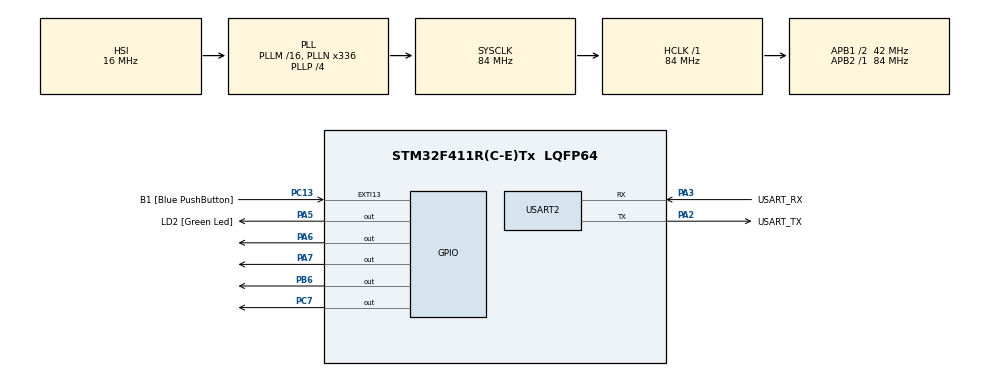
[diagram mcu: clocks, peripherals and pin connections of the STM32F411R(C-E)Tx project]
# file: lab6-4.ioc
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FREERTOS.Tasks01=defaultTask,32,512,StartDefaultTask,Default,NULL,Dynamic,NULL,NULL;myTask02,32,512,StartTask02,Default,NULL,Dynamic,NULL,NULL;myTask03,32,512,StartTask03,Default,NULL,Dynamic,NULL,NULL;myTask04,32,512,StartTask04,Default,NULL,Dynamic,NULL,NULL;myTask05,24,2048,StartTask05,Default,NULL,Dynamic,NULL,NULL;myTask06,24,2048,StartTask06,Default,NULL,Dynamic,NULL,NULL;myTask07,24,2048,StartTask07,Default,NULL,Dynamic,NULL,NULL
FREERTOS.configTOTAL_HEAP_SIZE=40000
Mcu.Family=STM32F4
Mcu.Name=STM32F411R(C-E)Tx
Mcu.Package=LQFP64
NVIC.PriorityGroup=NVIC_PRIORITYGROUP_4
PA13.GPIO_Label=TMS
PA13.Mode=Serial_Wire
PA13.Signal=SYS_JTMS-SWDIO
PA14.GPIO_Label=TCK
PA14.Mode=Serial_Wire
PA14.Signal=SYS_JTCK-SWCLK
PA2.GPIO_Label=USART_TX
PA2.Mode=Asynchronous
PA2.Signal=USART2_TX
PA3.GPIO_Label=USART_RX
PA3.Mode=Asynchronous
PA3.Signal=USART2_RX
PA5.GPIO_Label=LD2 [Green Led]
PA5.Signal=GPIO_Output
PA6.Signal=GPIO_Output
PA7.Signal=GPIO_Output
PB3.GPIO_Label=SWO
PB3.Signal=SYS_JTDO-SWO
PB6.Signal=GPIO_Output
PC13-ANTI_TAMP.GPIO_Label=B1 [Blue PushButton]
PC13-ANTI_TAMP.GPIO_ModeDefaultEXTI=GPIO_MODE_IT_FALLING
PC13-ANTI_TAMP.Signal=GPXTI13
PC14-OSC32_IN.Mode=LSE-External-Oscillator
PC14-OSC32_IN.Signal=RCC_OSC32_IN
PC15-OSC32_OUT.Mode=LSE-External-Oscillator
PC15-OSC32_OUT.Signal=RCC_OSC32_OUT
PC7.Signal=GPIO_Output
PH0\ -\ OSC_IN.Mode=HSE-External-Clock-Source
PH0\ -\ OSC_IN.Signal=RCC_OSC_IN
PH1\ -\ OSC_OUT.Mode=HSE-External-Clock-Source
PH1\ -\ OSC_OUT.Signal=RCC_OSC_OUT
ProjectManager.HeapSize=0x200
ProjectManager.StackSize=0x400
ProjectManager.TargetToolchain=STM32CubeIDE
RCC.48MHZClocksFreq_Value=84000000
RCC.AHBFreq_Value=84000000
RCC.APB1CLKDivider=RCC_HCLK_DIV2
RCC.APB1Freq_Value=42000000
RCC.APB1TimFreq_Value=84000000
RCC.APB2Freq_Value=84000000
RCC.APB2TimFreq_Value=84000000
RCC.CortexFreq_Value=84000000
RCC.FLatency-AdvancedSettings=FLASH_LATENCY_2
RCC.HCLKFreq_Value=84000000
RCC.HSE_VALUE=8000000
RCC.HSI_VALUE=16000000
RCC.PLLN=336
RCC.PLLP=RCC_PLLP_DIV4
RCC.SYSCLKFreq_VALUE=84000000
RCC.SYSCLKSource=RCC_SYSCLKSOURCE_PLLCLK
RCC.VCOOutputFreq_Value=336000000
USART2.VirtualMode=VM_ASYNC
VP_FREERTOS_VS_CMSIS_V2.Mode=CMSIS_V2
board=NUCLEO-F411RE

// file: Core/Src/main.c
/* USER CODE BEGIN Header */
/**
  ******************************************************************************
  * @file           : main.c
  * @brief          : Main program body
  ******************************************************************************
  * @attention
  *
  * Copyright (c) 2026 STMicroelectronics.
  * All rights reserved.
  *
  * This software is licensed under terms that can be found in the LICENSE file
  * in the root directory of this software component.
  * If no LICENSE file comes with this software, it is provided AS-IS.
  *
  ******************************************************************************
  */
/* USER CODE END Header */
#include "main.h"
#include "cmsis_os.h"

UART_HandleTypeDef huart2;

/* Definitions for defaultTask */
osThreadId_t defaultTaskHandle;
const osThreadAttr_t defaultTask_attributes = {
  .name = "defaultTask",
  .stack_size = 512 * 4,
  .priority = (osPriority_t) osPriorityAboveNormal,
};
/* Definitions for myTask02 */
osThreadId_t myTask02Handle;
const osThreadAttr_t myTask02_attributes = {
  .name = "myTask02",
  .stack_size = 512 * 4,
  .priority = (osPriority_t) osPriorityAboveNormal,
};
/* Definitions for myTask03 */
osThreadId_t myTask03Handle;
const osThreadAttr_t myTask03_attributes = {
  .name = "myTask03",
  .stack_size = 512 * 4,
  .priority = (osPriority_t) osPriorityAboveNormal,
};
/* Definitions for myTask04 */
osThreadId_t myTask04Handle;
const osThreadAttr_t myTask04_attributes = {
  .name = "myTask04",
  .stack_size = 512 * 4,
  .priority = (osPriority_t) osPriorityAboveNormal,
};
/* Definitions for myTask05 */
osThreadId_t myTask05Handle;
const osThreadAttr_t myTask05_attributes = {
  .name = "myTask05",
  .stack_size = 2048 * 4,
  .priority = (osPriority_t) osPriorityNormal,
};
/* Definitions for myTask06 */
osThreadId_t myTask06Handle;
const osThreadAttr_t myTask06_attributes = {
  .name = "myTask06",
  .stack_size = 2048 * 4,
  .priority = (osPriority_t) osPriorityNormal,
};
/* Definitions for myTask07 */
osThreadId_t myTask07Handle;
const osThreadAttr_t myTask07_attributes = {
  .name = "myTask07",
  .stack_size = 2048 * 4,
  .priority = (osPriority_t) osPriorityNormal,
};

void SystemClock_Config(void);
static void MX_GPIO_Init(void);
static void MX_USART2_UART_Init(void);
void StartDefaultTask(void *argument);
void StartTask02(void *argument);
void StartTask03(void *argument);
void StartTask04(void *argument);
void StartTask05(void *argument);
void StartTask06(void *argument);
void StartTask07(void *argument);

/* USER CODE BEGIN 0 */
typedef struct {
    char data[32];
} Message;

osMessageQueueId_t uartQueueHandle;
/* USER CODE END 0 */

int main(void)
{

  /* MCU Configuration--------------------------------------------------------*/

  /* Reset of all peripherals, Initializes the Flash interface and the Systick. */
  HAL_Init();

  /* Configure the system clock */
  SystemClock_Config();

  /* Initialize all configured peripherals */
  MX_GPIO_Init();
  MX_USART2_UART_Init();

  /* Init scheduler */
  osKernelInitialize();

  /* Create the thread(s) */
  /* creation of defaultTask */
  defaultTaskHandle = osThreadNew(StartDefaultTask, NULL, &defaultTask_attributes);

  /* creation of myTask02 */
  myTask02Handle = osThreadNew(StartTask02, NULL, &myTask02_attributes);

  /* creation of myTask03 */
  myTask03Handle = osThreadNew(StartTask03, NULL, &myTask03_attributes);

  /* creation of myTask04 */
  myTask04Handle = osThreadNew(StartTask04, NULL, &myTask04_attributes);

  /* creation of myTask05 */
  myTask05Handle = osThreadNew(StartTask05, NULL, &myTask05_attributes);

  /* creation of myTask06 */
  myTask06Handle = osThreadNew(StartTask06, NULL, &myTask06_attributes);

  /* creation of myTask07 */
  myTask07Handle = osThreadNew(StartTask07, NULL, &myTask07_attributes);

  /* USER CODE BEGIN RTOS_EVENTS */
  /* add events, ... */

  uartQueueHandle = osMessageQueueNew(16, sizeof(Message), NULL);
  if (uartQueueHandle == NULL) {
      Error_Handler();
  }
  /* USER CODE END RTOS_EVENTS */

  /* Start scheduler */
  osKernelStart();

  /* We should never get here as control is now taken by the scheduler */

  /* Infinite loop */
  while (1)
  {

  }
}

void SystemClock_Config(void)
{
  RCC_OscInitTypeDef RCC_OscInitStruct = {0};
  RCC_ClkInitTypeDef RCC_ClkInitStruct = {0};

  /** Configure the main internal regulator output voltage
  */
  __HAL_RCC_PWR_CLK_ENABLE();
  __HAL_PWR_VOLTAGESCALING_CONFIG(PWR_REGULATOR_VOLTAGE_SCALE1);

  /** Initializes the RCC Oscillators according to the specified parameters
  * in the RCC_OscInitTypeDef structure.
  */
  RCC_OscInitStruct.OscillatorType = RCC_OSCILLATORTYPE_HSI;
  RCC_OscInitStruct.HSIState = RCC_HSI_ON;
  RCC_OscInitStruct.HSICalibrationValue = RCC_HSICALIBRATION_DEFAULT;
  RCC_OscInitStruct.PLL.PLLState = RCC_PLL_ON;
  RCC_OscInitStruct.PLL.PLLSource = RCC_PLLSOURCE_HSI;
  RCC_OscInitStruct.PLL.PLLM = 16;
  RCC_OscInitStruct.PLL.PLLN = 336;
  RCC_OscInitStruct.PLL.PLLP = RCC_PLLP_DIV4;
  RCC_OscInitStruct.PLL.PLLQ = 4;
  if (HAL_RCC_OscConfig(&RCC_OscInitStruct) != HAL_OK)
  {
    Error_Handler();
  }

  /** Initializes the CPU, AHB and APB buses clocks
  */
  RCC_ClkInitStruct.ClockType = RCC_CLOCKTYPE_HCLK|RCC_CLOCKTYPE_SYSCLK
                              |RCC_CLOCKTYPE_PCLK1|RCC_CLOCKTYPE_PCLK2;
  RCC_ClkInitStruct.SYSCLKSource = RCC_SYSCLKSOURCE_PLLCLK;
  RCC_ClkInitStruct.AHBCLKDivider = RCC_SYSCLK_DIV1;
  RCC_ClkInitStruct.APB1CLKDivider = RCC_HCLK_DIV2;
  RCC_ClkInitStruct.APB2CLKDivider = RCC_HCLK_DIV1;

  if (HAL_RCC_ClockConfig(&RCC_ClkInitStruct, FLASH_LATENCY_2) != HAL_OK)
  {
    Error_Handler();
  }
}

static void MX_USART2_UART_Init(void)
{

  huart2.Instance = USART2;
  huart2.Init.BaudRate = 115200;
  huart2.Init.WordLength = UART_WORDLENGTH_8B;
  huart2.Init.StopBits = UART_STOPBITS_1;
  huart2.Init.Parity = UART_PARITY_NONE;
  huart2.Init.Mode = UART_MODE_TX_RX;
  huart2.Init.HwFlowCtl = UART_HWCONTROL_NONE;
  huart2.Init.OverSampling = UART_OVERSAMPLING_16;
  if (HAL_UART_Init(&huart2) != HAL_OK)
  {
    Error_Handler();
  }

}

static void MX_GPIO_Init(void)
{
  GPIO_InitTypeDef GPIO_InitStruct = {0};

  /* GPIO Ports Clock Enable */
  __HAL_RCC_GPIOC_CLK_ENABLE();
  __HAL_RCC_GPIOH_CLK_ENABLE();
  __HAL_RCC_GPIOA_CLK_ENABLE();
  __HAL_RCC_GPIOB_CLK_ENABLE();

  /*Configure GPIO pin Output Level */
  HAL_GPIO_WritePin(GPIOA, LD2_Pin|GPIO_PIN_6|GPIO_PIN_7, GPIO_PIN_RESET);

  /*Configure GPIO pin Output Level */
  HAL_GPIO_WritePin(GPIOC, GPIO_PIN_7, GPIO_PIN_RESET);

  /*Configure GPIO pin Output Level */
  HAL_GPIO_WritePin(GPIOB, GPIO_PIN_6, GPIO_PIN_RESET);

  /*Configure GPIO pin : B1_Pin */
  GPIO_InitStruct.Pin = B1_Pin;
  GPIO_InitStruct.Mode = GPIO_MODE_IT_FALLING;
  GPIO_InitStruct.Pull = GPIO_NOPULL;
  HAL_GPIO_Init(B1_GPIO_Port, &GPIO_InitStruct);

  /*Configure GPIO pins : LD2_Pin PA6 PA7 */
  GPIO_InitStruct.Pin = LD2_Pin|GPIO_PIN_6|GPIO_PIN_7;
  GPIO_InitStruct.Mode = GPIO_MODE_OUTPUT_PP;
  GPIO_InitStruct.Pull = GPIO_NOPULL;
  GPIO_InitStruct.Speed = GPIO_SPEED_FREQ_LOW;
  HAL_GPIO_Init(GPIOA, &GPIO_InitStruct);

  /*Configure GPIO pin : PC7 */
  GPIO_InitStruct.Pin = GPIO_PIN_7;
  GPIO_InitStruct.Mode = GPIO_MODE_OUTPUT_PP;
  GPIO_InitStruct.Pull = GPIO_NOPULL;
  GPIO_InitStruct.Speed = GPIO_SPEED_FREQ_LOW;
  HAL_GPIO_Init(GPIOC, &GPIO_InitStruct);

  /*Configure GPIO pin : PB6 */
  GPIO_InitStruct.Pin = GPIO_PIN_6;
  GPIO_InitStruct.Mode = GPIO_MODE_OUTPUT_PP;
  GPIO_InitStruct.Pull = GPIO_NOPULL;
  GPIO_InitStruct.Speed = GPIO_SPEED_FREQ_LOW;
  HAL_GPIO_Init(GPIOB, &GPIO_InitStruct);

}

void StartDefaultTask(void *argument)
{
  /* USER CODE BEGIN 5 */
  /* Infinite loop */
  for(;;)
  {
	    HAL_GPIO_TogglePin(GPIOA, GPIO_PIN_6);
	    osDelay(50);
  }
  /* USER CODE END 5 */
}

void StartTask02(void *argument)
{
  /* USER CODE BEGIN StartTask02 */
  /* Infinite loop */
  for(;;)
  {
	    HAL_GPIO_TogglePin(GPIOA, GPIO_PIN_7);
	    osDelay(18);
  }
  /* USER CODE END StartTask02 */
}

void StartTask03(void *argument)
{
  /* USER CODE BEGIN StartTask03 */
  /* Infinite loop */
  for(;;)
  {
	    HAL_GPIO_TogglePin(GPIOB, GPIO_PIN_6);
	    osDelay(128);
  }
  /* USER CODE END StartTask03 */
}

void StartTask04(void *argument)
{
  /* USER CODE BEGIN StartTask04 */
  /* Infinite loop */
  for(;;)
  {
	    HAL_GPIO_TogglePin(GPIOC, GPIO_PIN_7);
	    osDelay(64);
  }
  /* USER CODE END StartTask04 */
}

void StartTask05(void *argument)
{
  /* USER CODE BEGIN StartTask05 */
  /* Infinite loop */
    int threadID = 0;
    unsigned int index = 0;
    Message message = {0};

    for (;;) {
        snprintf(message.data, sizeof(message.data), "TID: %d %u\r\n",
                 threadID, index);
        if (osMessageQueuePut(uartQueueHandle, &message,
                              0, osWaitForever) == osOK) {
            index++;
        }
    }
  /* USER CODE END StartTask05 */
}

void StartTask06(void *argument)
{
  /* USER CODE BEGIN StartTask06 */
  /* Infinite loop */
    int threadID = 1;
    unsigned int index = 0;
    Message message = {0};

    for (;;) {
        snprintf(message.data, sizeof(message.data), "TID: %d %u\r\n",
                 threadID, index);
        if (osMessageQueuePut(uartQueueHandle, &message,
                              0, osWaitForever) == osOK) {
            index++;
        }
    }
  /* USER CODE END StartTask06 */
}

void StartTask07(void *argument)
{
  /* USER CODE BEGIN StartTask07 */
  /* Infinite loop */
    Message message;

    for (;;) {
        if (osMessageQueueGet(uartQueueHandle, &message,
                              NULL, osWaitForever) == osOK) {
            if (HAL_UART_Transmit(&huart2, (uint8_t *)message.data,
                                  strlen(message.data), 1000) != HAL_OK) {
                Error_Handler();
            }
        }
    }
  /* USER CODE END StartTask07 */
}

void Error_Handler(void)
{
  __disable_irq();
  while (1)
  {
  }
}
